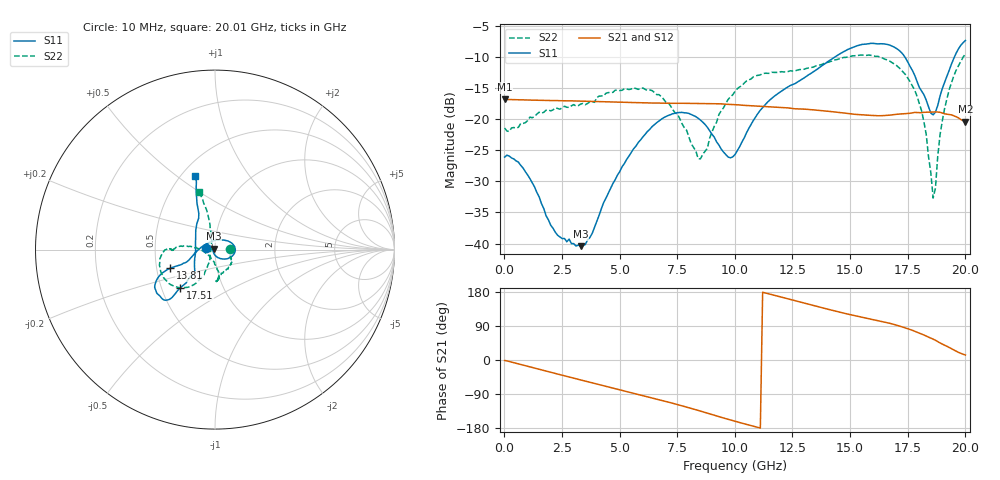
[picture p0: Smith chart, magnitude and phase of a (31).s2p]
! Hittite Microwave Corporation
! 2 Elizabeth Drive
! Chelmsford, MA 01824
! http://www.hittite.com
! Tel: 978-250-3343
! Fax: 978-250-3373
! Device:  HMC424LP3
! Description: 0.5 dB GaAs MMIC 6-Bit Digital Attenuator
! Frequency:  DC -  13.00 GHz
! Package:  LP3  - 3x3 mm Quad Flatpack No-Lead (QFN) Plastic Package: 16 pin
! Ports:  2 RF, 7 DC
!  Pad  1  = Ground
!  Pad  2  = RF IN  = Port 1
!  Pad  3  = Ground
!  Pad  4  = V6
!  Pad  5  = V5
!  Pad  6  = V4
!  Pad  7  = V3
!  Pad  8  = V2
!  Pad  9  = V1
!  Pad 10  = Ground
!  Pad 11  = RF OUT  = Port 2
!  Pad 12  = Ground
!  Pad 15  = VEE
! Control:  -5 Volt control voltage
! State:  29
! Attenuation:  14.5 dB
! Voltages:  Vdd = -5.00 Volts  Idd =  -2.681 mA
!  V1  = -5.00 Volts  I1  =  -1.0 uA
!  V2  = 0.00 Volts  I2  =  29.0 uA
!  V3  = -5.00 Volts  I3  =  -1.0 uA
!  V4  = -5.00 Volts  I4  =  -1.0 uA
!  V5  = -5.00 Volts  I5  =  -1.0 uA
!  V6  = 0.00 Volts  I6  =  30.0 uA
! Data:  The device was measured on evaluation board 105354-1.
!  Data was collected using a calibrated network analyzer.
!  The evaluation circuit board was modeled and simulated.  This was use
!  to removed the evaluation board circuit from the measured data.
!  The reference plane is the edge of the package pin.
! Misc:  Lot xxxx, Unit 1
!  Application 20120001, Data collected in Application 20090083
! Date Measured:  2009-09-15
! Date:  2012-05-14  MJV
! Note:
!  Hittite supplies this data as a sample of measured data at the package pin
!  for this product.  Your particular data for this product may vary.
!  Data was taken at 25 degrees C.
!  Hittite reserves the right to change this data at anytime.
# GHz S MA R 50
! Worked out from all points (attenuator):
!   201 points, 10 MHz to 20.01 GHz, reference 50 ohm
!   highest |S21| = -16.85 dB at 10 MHz (marker M1); lowest = -20.4 dB at 20.01 GHz (marker M2)
!   lowest |S11| = -40.4 dB at 3.31 GHz (marker M3), VSWR 1.02, Z = 49.2 + j0.521 ohm
!   |S11| at or under -10 dB: start of sweep to 14.36 GHz; 17.37 GHz to 19.54 GHz (2.164 GHz wide, 11.7 % of centre)
!   |S22| runs from -32.7 to -9.5 dB; largest |S21 - S12| = 0.0017
!   S11 on the Smith chart (normalised r, x): 10 MHz: 0.91, +0.01; 13.81 GHz: 0.59, -0.13; 17.51 GHz: 0.62, -0.29; 20.01 GHz: 0.58, +0.58
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0.01  0.04951 170.7  0.1437 -1.2  0.1444 -1.8  0.08465 3.6
0.81  0.04051 179.0  0.1424 -13.6  0.1422 -13.5  0.09225 -20.5
2.31  0.01168 140.9  0.1406 -37.1  0.1404 -37.0  0.1216 -43.1
3.31  0.009545 146.3  0.1393 -52.6  0.1391 -52.5  0.1318 -62.9
3.41  0.009669 154.3  0.1391 -54.1  0.1391 -54.2  0.1334 -63.3
5.11  0.04145 -76.4  0.1364 -80.1  0.1363 -80.2  0.1701 -86.4
6.71  0.09634 -26.4  0.1343 -104.6  0.1341 -104.6  0.1569 -83.5
8.51  0.09811 23.1  0.1333 -134.8  0.1331 -134.8  0.04792 -137.9
9.71  0.04956 99.7  0.1313 -156.5  0.1311 -156.5  0.1435 172.7
10.01  0.05186 132.2  0.1304 -161.6  0.1301 -161.6  0.1663 172.5
11.41  0.1359 -162.8  0.1258 175.6  0.1257 175.7  0.2328 -179.1
13.41  0.2392 -157.1  0.1185 143.9  0.1182 143.9  0.261 178.9
13.81  0.2697 -157.3  0.1167 137.7  0.1165 137.7  0.2754 -180.0
16.71  0.393 -134.1  0.1074 97.1  0.1073 97.1  0.2927 -133.6
17.51  0.2868 -132.3  0.1109 82.5  0.1106 82.5  0.2131 -119.2
18.11  0.1677 -131.7  0.1124 68.6  0.1123 68.6  0.1163 -113.3
18.31  0.1418 -143.9  0.1134 63.3  0.1133 63.3  0.07522 -114.5
18.61  0.108 177.1  0.1138 55.1  0.1136 55.1  0.0232 -173.7
18.71  0.1137 163.2  0.1141 52.0  0.114 52.0  0.02783 139.1
18.91  0.1529 134.5  0.1132 45.0  0.1131 45.0  0.07468 108.3
19.11  0.1975 117.4  0.1101 38.9  0.11 38.9  0.1223 102.6
20.01  0.4272 105.5  0.09521 13.2  0.09534 13.1  0.3344 105.9
